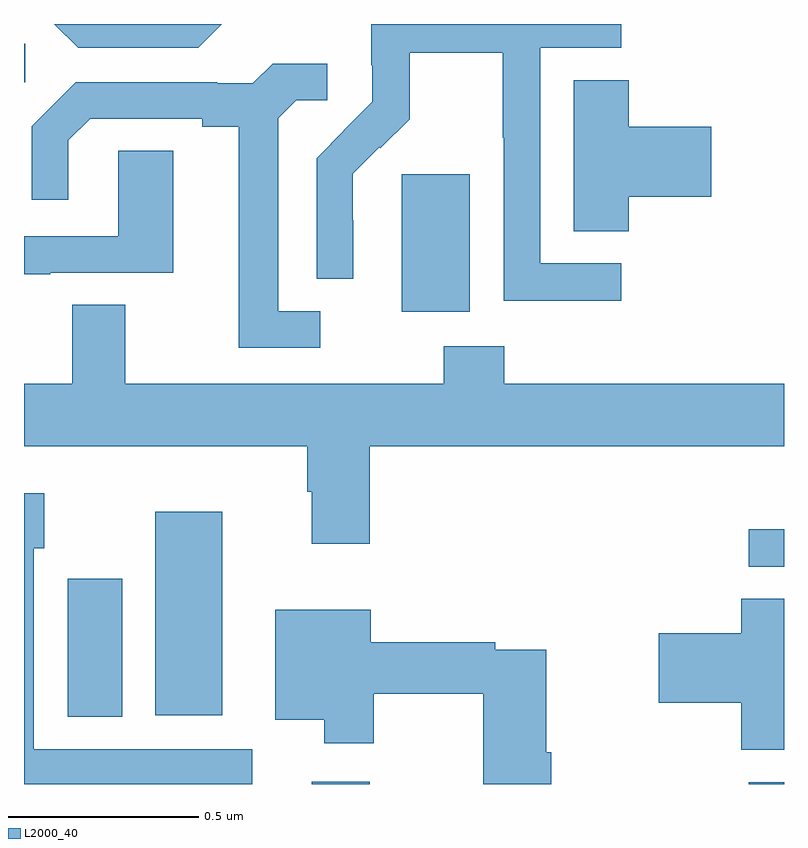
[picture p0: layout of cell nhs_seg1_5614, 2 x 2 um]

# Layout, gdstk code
import gdstk
lib = gdstk.Library(unit=1e-6, precision=1e-09)
def R(c, l, rs):  # rectangles x0, y0, x1, y1
    for r in rs: c.add(gdstk.rectangle(r[:2], r[2:], *l))
def P(c, l, *ps):  # polygons
    for p in ps: c.add(gdstk.Polygon(p, *l))
L2000_40 = (2000, 40)

nhs_seg1_5614 = lib.new_cell('nhs_seg1_5614')
R(nhs_seg1_5614, L2000_40, [(181.757,528.199,181.91,528.205), (182.907,528.199,183,528.204), (181.115,528.376,181.258,528.739), (181.346,528.38,181.522,528.916), (182.907,528.771,183,528.87), (181.994,529.442,182.173,529.803), (181,530.046,181.003,530.147)])
P(nhs_seg1_5614, L2000_40, [(182.572,529.569),(182.358,529.569),(182.358,530.136),(182.572,530.136),(182.572,530.199),(181.914,530.199),(181.914,530.091),(181.916,530.091),(181.916,529.994),(181.842,529.92),(181.843,529.919),(181.77,529.846),(181.77,529.528),(181.866,529.528),(181.866,529.682),(181.865,529.682),(181.865,529.805),(181.935,529.875),(181.938,529.872),(182.015,529.949),(182.015,530.124),(182.26,530.124),(182.26,529.9),(182.262,529.9),(182.262,529.471),(182.572,529.471)],
  [(181.521,530.199),(181.08,530.199),(181.143,530.136),(181.458,530.136)],
  [(181.78,529.443),(181.669,529.443),(181.669,529.951),(181.716,529.998),(181.798,529.998),(181.798,530.095),(181.654,530.095),(181.602,530.043),(181.508,530.043),(181.508,530.046),(181.136,530.046),(181.02,529.93),(181.02,529.737),(181.117,529.737),(181.117,529.893),(181.174,529.95),(181.469,529.95),(181.469,529.928),(181.565,529.928),(181.565,529.347),(181.78,529.347)],
  [(182.591,529.745),(182.809,529.745),(182.809,529.928),(182.591,529.928),(182.591,530.051),(182.447,530.051),(182.447,529.654),(182.591,529.654)],
  [(181.069,529.545),(181.393,529.545),(181.393,529.865),(181.248,529.865),(181.248,529.641),(181,529.641),(181,529.541),(181.069,529.541)],
  [(182.104,529.351),(182.104,529.252),(181.267,529.252),(181.267,529.46),(181.127,529.46),(181.127,529.252),(181,529.252),(181,529.088),(181.745,529.088),(181.745,528.968),(181.757,528.968),(181.757,528.831),(181.91,528.831),(181.91,529.088),(183,529.088),(183,529.252),(182.264,529.252),(182.264,529.351)],
  [(181.6,528.291),(181.026,528.291),(181.026,528.819),(181.053,528.819),(181.053,528.964),(181,528.964),(181,528.199),(181.6,528.199)],
  [(183,528.686),(182.888,528.686),(182.888,528.596),(182.67,528.596),(182.67,528.413),(182.888,528.413),(182.888,528.289),(183,528.289)],
  [(182.387,528.283),(182.374,528.283),(182.374,528.552),(182.24,528.552),(182.24,528.572),(181.912,528.572),(181.912,528.658),(181.661,528.658),(181.661,528.368),(181.79,528.368),(181.79,528.306),(181.92,528.306),(181.92,528.436),(182.209,528.436),(182.209,528.199),(182.387,528.199)])

lib.write_gds('nhs_seg1_5614.gds')
